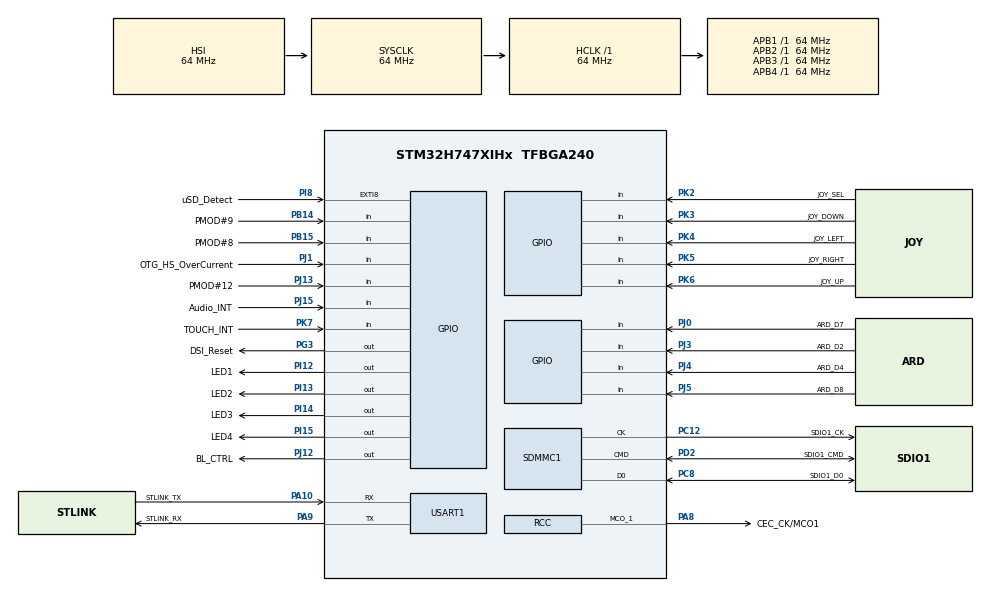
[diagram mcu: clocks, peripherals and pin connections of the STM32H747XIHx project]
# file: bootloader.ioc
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CORTEX_M7.CPU_DCache=Enabled
CortexM4.IPs=BDMA,DMA,FATFS_M4\:I,FREERTOS_M4\:I,IWDG2\:I,MDMA,NVIC2\:I,RCC,USB_DEVICE_M4\:I,USB_HOST_M4\:I,WWDG2\:I,DEBUG,PDM2PCM_M4\:I,PWR,RESMGR_UTILITY,SYS_M4\:I,CORTEX_M4\:I,OPENAMP_M4\:I,VREFBUF,GPIO
CortexM7.IPs=BDMA\:I,DMA\:I,FATFS_M7\:I,FREERTOS_M7\:I,IWDG1\:I,MDMA\:I,NVIC1\:I,RCC\:I,USB_DEVICE_M7\:I,USB_HOST_M7\:I,WWDG1\:I,USART1\:I,CORTEX_M7\:I,DEBUG\:I,PDM2PCM_M7\:I,PWR\:I,RESMGR_UTILITY\:I,SYS\:I,OPENAMP_M7\:I,VREFBUF\:I,GPIO\:I,SDMMC1\:I,STMicroelectronics.X-CUBE-AZRTOS-H7.3.1.0_M7\:I,TIM6\:I
CortexM7.Pins=PK3,PI8,PI12,PI13,PI14,PI15
DSI_CKN.Signal=DSIHOST_CKN
DSI_CKP.Signal=DSIHOST_CKP
DSI_D0N.Signal=DSIHOST_D0N
DSI_D0P.Signal=DSIHOST_D0P
DSI_D1N.Signal=DSIHOST_D1N
DSI_D1P.Signal=DSIHOST_D1P
Mcu.Family=STM32H7
Mcu.Name=STM32H747XIHx
Mcu.Package=TFBGA240
NVIC1.EXTI9_5_IRQn=true\:14\:0\:true\:false\:true\:false\:true\:true\:true
NVIC1.PriorityGroup=NVIC_PRIORITYGROUP_4
NVIC1.SDMMC1_IRQn=true\:0\:0\:false\:false\:true\:false\:true\:true\:true
NVIC1.TIM6_DAC_IRQn=true\:15\:0\:true\:false\:true\:false\:false\:true\:true
NVIC1.TimeBase=TIM6_DAC_IRQn
NVIC1.TimeBaseIP=TIM6
NVIC2.PriorityGroup=NVIC_PRIORITYGROUP_4
PA0_C.GPIO_Label=ARD_A2
PA0_C.PinAttribute=CortexM4
PA0_C.Signal=ADCx_INP0
PA1.GPIO_Label=ETH_REF_CLK
PA1.PinAttribute=CortexM4
PA1.Signal=ETH_REF_CLK
PA10.GPIO_Label=STLINK_TX
PA10.Mode=Asynchronous
PA10.PinAttribute=CortexM7
PA10.Signal=USART1_RX
PA11.GPIO_Label=PMOD\#1
PA11.PinAttribute=CortexM4
PA11.Signal=SPI2_NSS
PA12.GPIO_Label=SPI2_SCK
PA12.PinAttribute=CortexM4
PA12.Signal=SPI2_SCK
PA1_C.GPIO_Label=ARD_A3
PA1_C.PinAttribute=CortexM4
PA1_C.Signal=ADCx_INP1
PA2.GPIO_Label=ETH_MDIO
PA2.PinAttribute=CortexM4
PA2.Signal=ETH_MDIO
PA3.GPIO_Label=ULPI_D0
PA3.PinAttribute=CortexM4
PA3.Signal=USB_OTG_HS_ULPI_D0
PA5.GPIO_Label=ULPI_CK
PA5.PinAttribute=CortexM4
PA5.Signal=USB_OTG_HS_ULPI_CK
PA7.GPIO_Label=ETH_CRS_DV
PA7.PinAttribute=CortexM4
PA7.Signal=ETH_CRS_DV
PA8.GPIO_Label=CEC_CK/MCO1
PA8.Mode=Clock-out-1
PA8.PinAttribute=CortexM7
PA8.Signal=RCC_MCO_1
PA9.GPIO_Label=STLINK_RX
PA9.Mode=Asynchronous
PA9.PinAttribute=CortexM7
PA9.Signal=USART1_TX
PB0.GPIO_Label=ULPI_D1
PB0.PinAttribute=CortexM4
PB0.Signal=USB_OTG_HS_ULPI_D1
PB1.GPIO_Label=ULPI_D2
PB1.PinAttribute=CortexM4
PB1.Signal=USB_OTG_HS_ULPI_D2
PB10.GPIO_Label=ULPI_D3
PB10.PinAttribute=CortexM4
PB10.Signal=USB_OTG_HS_ULPI_D3
PB11.GPIO_Label=ULPI_D4
PB11.PinAttribute=CortexM4
PB11.Signal=USB_OTG_HS_ULPI_D4
PB12.GPIO_Label=ULPI_D5
PB12.PinAttribute=CortexM4
PB12.Signal=USB_OTG_HS_ULPI_D5
PB13.GPIO_Label=ULPI_D6
PB13.PinAttribute=CortexM4
PB13.Signal=USB_OTG_HS_ULPI_D6
PB14.GPIO_Label=PMOD\#9
PB14.PinAttribute=Free
PB14.Signal=GPIO_Input
PB15.GPIO_Label=PMOD\#8
PB15.PinAttribute=Free
PB15.Signal=GPIO_Input
PB2.GPIO_Label=QSPI_CLK
PB2.PinAttribute=CortexM4
PB2.Signal=QUADSPI_CLK
PB5.GPIO_Label=ULPI_D7
PB5.PinAttribute=CortexM4
PB5.Signal=USB_OTG_HS_ULPI_D7
PB6.GPIO_Label=HDMI_CEC
PB6.PinAttribute=CortexM4
PB6.Signal=CEC
PC0.GPIO_Label=ULPI_STP
PC0.PinAttribute=CortexM4
PC0.Signal=USB_OTG_HS_ULPI_STP
PC1.GPIO_Label=ETH_MDC/SAI4_D1
PC1.PinAttribute=CortexM4
PC1.Signal=ETH_MDC
PC10.GPIO_Label=SDIO1_D2
PC10.PinAttribute=CortexM7
PC10.Signal=SDMMC1_D2
PC12.GPIO_Label=SDIO1_CK
PC12.Mode=SD_1_bit
PC12.PinAttribute=CortexM7
PC12.Signal=SDMMC1_CK
PC13.GPIO_Label=B2 [Wakeup Button]
PC13.PinAttribute=CortexM4
PC13.Signal=RTC_TAMP1
PC14-OSC32_IN\ (OSC32_IN).GPIO_Label=OSC32_IN
PC14-OSC32_IN\ (OSC32_IN).Mode=LSE-External-Oscillator
PC14-OSC32_IN\ (OSC32_IN).PinAttribute=CortexM7
PC14-OSC32_IN\ (OSC32_IN).Signal=RCC_OSC32_IN
PC15-OSC32_OUT\ (OSC32_OUT).GPIO_Label=OSC32_OUT
PC15-OSC32_OUT\ (OSC32_OUT).Mode=LSE-External-Oscillator
PC15-OSC32_OUT\ (OSC32_OUT).PinAttribute=CortexM7
PC15-OSC32_OUT\ (OSC32_OUT).Signal=RCC_OSC32_OUT
PC2.GPIO_Label=PMOD\#3
PC2.PinAttribute=CortexM4
PC2.Signal=SPI2_MISO
PC2_C.GPIO_Label=ARD_A4
PC2_C.PinAttribute=CortexM4
PC2_C.Signal=ADC3_INP0
PC3.GPIO_Label=PMOD\#2
PC3.PinAttribute=CortexM4
PC3.Signal=SPI2_MOSI
PC3_C.GPIO_Label=ARD_A5
PC3_C.PinAttribute=CortexM4
PC3_C.Signal=ADC3_INP1
PC4.GPIO_Label=ETH_RXD0
PC4.PinAttribute=CortexM4
PC4.Signal=ETH_RXD0
PC5.GPIO_Label=ETH_RXD1
PC5.PinAttribute=CortexM4
PC5.Signal=ETH_RXD1
PC8.GPIO_Label=SDIO1_D0
PC8.Mode=SD_1_bit
PC8.PinAttribute=CortexM7
PC8.Signal=SDMMC1_D0
PD0.GPIO_Label=FMC_D2
PD0.PinAttribute=CortexM4
PD0.Signal=FMC_D2_DA2
PD1.GPIO_Label=FMC_D3
PD1.PinAttribute=CortexM4
PD1.Signal=FMC_D3_DA3
PD10.GPIO_Label=FMC_D15
PD10.PinAttribute=CortexM4
PD10.Signal=FMC_D15_DA15
PD11.GPIO_Label=QSPI_BK1_IO0
PD11.PinAttribute=CortexM4
PD11.Signal=QUADSPI_BK1_IO0
PD12.Signal=I2C4_SCL
PD13.Signal=I2C4_SDA
PD14.GPIO_Label=FMC_D0
PD14.PinAttribute=CortexM4
PD14.Signal=FMC_D0_DA0
PD15.GPIO_Label=FMC_D1
PD15.PinAttribute=CortexM4
PD15.Signal=FMC_D1_DA1
PD2.GPIO_Label=SDIO1_CMD
PD2.Mode=SD_1_bit
PD2.PinAttribute=CortexM7
PD2.Signal=SDMMC1_CMD
PD7.GPIO_Label=SPDIF_RX0
PD7.PinAttribute=CortexM4
PD7.Signal=SPDIFRX1_IN0
PD8.GPIO_Label=FMC_D13
PD8.PinAttribute=CortexM4
PD8.Signal=FMC_D13_DA13
PD9.GPIO_Label=FMC_D14
PD9.PinAttribute=CortexM4
PD9.Signal=FMC_D14_DA14
PE0.GPIO_Label=FMC_NBL0
PE0.PinAttribute=CortexM4
PE0.Signal=FMC_NBL0
PE1.GPIO_Label=FMC_NBL1
PE1.PinAttribute=CortexM4
PE1.Signal=FMC_NBL1
PE10.GPIO_Label=FMC_D7
PE10.PinAttribute=CortexM4
PE10.Signal=FMC_D7_DA7
PE11.GPIO_Label=FMC_D8
PE11.PinAttribute=CortexM4
PE11.Signal=FMC_D8_DA8
PE12.GPIO_Label=FMC_D9
PE12.PinAttribute=CortexM4
PE12.Signal=FMC_D9_DA9
PE13.GPIO_Label=FMC_D10
PE13.PinAttribute=CortexM4
PE13.Signal=FMC_D10_DA10
PE14.GPIO_Label=FMC_D11
PE14.PinAttribute=CortexM4
PE14.Signal=FMC_D11_DA11
PE15.GPIO_Label=FMC_D12
PE15.PinAttribute=CortexM4
PE15.Signal=FMC_D12_DA12
PE3.GPIO_Label=SAI1_SD_B
PE3.PinAttribute=CortexM4
PE3.Signal=SAI1_SD_B
PE4.GPIO_Label=SAI1_FS_A
PE4.PinAttribute=CortexM4
PE4.Signal=SAI1_FS_A
PE5.GPIO_Label=SAI1_SCK_A
PE5.PinAttribute=CortexM4
PE5.Signal=SAI1_SCK_A
PE6.GPIO_Label=SAI1_SD_A
PE6.PinAttribute=CortexM4
PE6.Signal=SAI1_SD_A
PE7.GPIO_Label=FMC_D4
PE7.PinAttribute=CortexM4
PE7.Signal=FMC_D4_DA4
PE8.GPIO_Label=FMC_D5
PE8.PinAttribute=CortexM4
PE8.Signal=FMC_D5_DA5
PE9.GPIO_Label=FMC_D6
PE9.PinAttribute=CortexM4
PE9.Signal=FMC_D6_DA6
PF0.GPIO_Label=FMC_A0
PF0.PinAttribute=CortexM4
PF0.Signal=FMC_A0
PF1.GPIO_Label=FMC_A1
PF1.PinAttribute=CortexM4
PF1.Signal=FMC_A1
PF10.GPIO_Label=ARD_A1
PF10.PinAttribute=CortexM4
PF10.Signal=ADC3_INP6
PF11.GPIO_Label=FMC_SDRAS
PF11.PinAttribute=CortexM4
PF11.Signal=FMC_SDNRAS
PF12.GPIO_Label=FMC_A6
PF12.PinAttribute=CortexM4
PF12.Signal=FMC_A6
PF13.GPIO_Label=FMC_A7
PF13.PinAttribute=CortexM4
PF13.Signal=FMC_A7
PF14.GPIO_Label=FMC_A8
PF14.PinAttribute=CortexM4
PF14.Signal=FMC_A8
PF15.GPIO_Label=FMC_A9
PF15.PinAttribute=CortexM4
PF15.Signal=FMC_A9
PF2.GPIO_Label=FMC_A2
PF2.PinAttribute=CortexM4
PF2.Signal=FMC_A2
PF3.GPIO_Label=FMC_A3
PF3.PinAttribute=CortexM4
PF3.Signal=FMC_A3
PF4.GPIO_Label=FMC_A4
PF4.PinAttribute=CortexM4
PF4.Signal=FMC_A4
PF5.GPIO_Label=FMC_A5
PF5.PinAttribute=CortexM4
PF5.Signal=FMC_A5
PF6.GPIO_Label=QSPI_BK1_IO3
PF6.PinAttribute=CortexM4
PF6.Signal=QUADSPI_BK1_IO3
PF7.GPIO_Label=QSPI_BK1_IO2
PF7.PinAttribute=CortexM4
PF7.Signal=QUADSPI_BK1_IO2
PF8.GPIO_Label=PMOD\#14/ARD_D3
PF8.PinAttribute=CortexM4
PF8.Signal=S_TIM13_CH1
PF9.GPIO_Label=QSPI_BK1_IO1
PF9.PinAttribute=CortexM4
PF9.Signal=QUADSPI_BK1_IO1
PG0.GPIO_Label=FMC_A10
PG0.PinAttribute=CortexM4
PG0.Signal=FMC_A10
PG1.GPIO_Label=FMC_A11
PG1.PinAttribute=CortexM4
PG1.Signal=FMC_A11
PG11.GPIO_Label=ETH_TX_EN
PG11.PinAttribute=CortexM4
PG11.Signal=ETH_TX_EN
PG12.GPIO_Label=ETH_TXD1
PG12.PinAttribute=CortexM4
PG12.Signal=ETH_TXD1
PG13.GPIO_Label=ETH_TXD0
PG13.PinAttribute=CortexM4
PG13.Signal=ETH_TXD0
PG14.GPIO_Label=QSPI_BK2_IO3
PG14.PinAttribute=CortexM4
PG14.Signal=QUADSPI_BK2_IO3
PG15.GPIO_Label=FMC_SDCAS
PG15.PinAttribute=CortexM4
PG15.Signal=FMC_SDNCAS
PG2.GPIO_Label=FMC_A12
PG2.PinAttribute=CortexM4
PG2.Signal=FMC_A12
PG3.GPIO_Label=DSI_Reset
PG3.PinAttribute=Free
PG3.Signal=GPIO_Output
PG4.GPIO_Label=FMC_BA0
PG4.PinAttribute=CortexM4
PG4.Signal=FMC_A14_BA0
PG6.GPIO_Label=QSPI_BK1_NCS
PG6.PinAttribute=CortexM4
PG6.Signal=QUADSPI_BK1_NCS
PG7.GPIO_Label=SAI1_MCLK_A
PG7.PinAttribute=CortexM4
PG7.Signal=SAI1_MCLK_A
PG8.GPIO_Label=FMC_SDCLK
PG8.PinAttribute=CortexM4
PG8.Signal=FMC_SDCLK
PG9.GPIO_Label=QSPI_BK2_IO2
PG9.PinAttribute=CortexM4
PG9.Signal=QUADSPI_BK2_IO2
PH0-OSC_IN\ (PH0).GPIO_Label=OSC_IN
PH0-OSC_IN\ (PH0).Mode=HSE-External-Oscillator
PH0-OSC_IN\ (PH0).PinAttribute=CortexM7
PH0-OSC_IN\ (PH0).Signal=RCC_OSC_IN
PH1-OSC_OUT\ (PH1).GPIO_Label=OSC_OUT
PH1-OSC_OUT\ (PH1).Mode=HSE-External-Oscillator
PH1-OSC_OUT\ (PH1).PinAttribute=CortexM7
PH1-OSC_OUT\ (PH1).Signal=RCC_OSC_OUT
PH10.GPIO_Label=FMC_D18
PH10.PinAttribute=CortexM4
PH10.Signal=FMC_D18
PH11.GPIO_Label=FMC_D19
PH11.PinAttribute=CortexM4
PH11.Signal=FMC_D19
PH12.GPIO_Label=FMC_D20
PH12.PinAttribute=CortexM4
PH12.Signal=FMC_D20
PH13.GPIO_Label=FMC_D21
PH13.PinAttribute=CortexM4
PH13.Signal=FMC_D21
PH14.GPIO_Label=FMC_D22
PH14.PinAttribute=CortexM4
PH14.Signal=FMC_D22
PH15.GPIO_Label=FMC_D23
PH15.PinAttribute=CortexM4
PH15.Signal=FMC_D23
PH2.GPIO_Label=QSPI_BK2_IO0
PH2.PinAttribute=CortexM4
PH2.Signal=QUADSPI_BK2_IO0
PH3.GPIO_Label=QSPI_BK2_IO1
PH3.PinAttribute=CortexM4
PH3.Signal=QUADSPI_BK2_IO1
PH4.GPIO_Label=ULPI_NXT
PH4.PinAttribute=CortexM4
PH4.Signal=USB_OTG_HS_ULPI_NXT
PH5.GPIO_Label=FMC_SDNWE
PH5.PinAttribute=CortexM4
PH5.Signal=FMC_SDNWE
PH6.GPIO_Label=FMC_SDNE1
PH6.PinAttribute=CortexM4
PH6.Signal=FMC_SDNE1
PH7.GPIO_Label=FMC_SDCKE1
PH7.PinAttribute=CortexM4
PH7.Signal=FMC_SDCKE1
PH8.GPIO_Label=FMC_D16
PH8.PinAttribute=CortexM4
PH8.Signal=FMC_D16
PH9.GPIO_Label=FMC_D17
PH9.PinAttribute=CortexM4
PH9.Signal=FMC_D17
PI0.GPIO_Label=FMC_D24
PI0.PinAttribute=CortexM4
PI0.Signal=FMC_D24
PI1.GPIO_Label=FMC_D25
PI1.PinAttribute=CortexM4
PI1.Signal=FMC_D25
PI10.GPIO_Label=FMC_D31
PI10.PinAttribute=CortexM4
PI10.Signal=FMC_D31
PI11.GPIO_Label=ULPI_DIR
PI11.PinAttribute=CortexM4
PI11.Signal=USB_OTG_HS_ULPI_DIR
PI12.GPIO_Label=LED1
PI12.GPIO_PuPd=GPIO_PULLDOWN
PI12.PinAttribute=CortexM7
PI12.Signal=GPIO_Output
PI13.GPIO_Label=LED2
PI13.GPIO_PuPd=GPIO_PULLDOWN
PI13.PinAttribute=CortexM7
PI13.Signal=GPIO_Output
PI14.GPIO_Label=LED3
PI14.GPIO_PuPd=GPIO_PULLDOWN
PI14.PinAttribute=CortexM7
PI14.Signal=GPIO_Output
PI15.GPIO_Label=LED4
PI15.GPIO_PuPd=GPIO_PULLDOWN
PI15.PinAttribute=CortexM7
PI15.Signal=GPIO_Output
PI2.GPIO_Label=FMC_D26
PI2.PinAttribute=CortexM4
PI2.Signal=FMC_D26
PI3.GPIO_Label=FMC_D27
PI3.PinAttribute=CortexM4
PI3.Signal=FMC_D27
PI4.GPIO_Label=FMC_NBL2
PI4.PinAttribute=CortexM4
PI4.Signal=FMC_NBL2
PI5.GPIO_Label=FMC_NBL3
PI5.PinAttribute=CortexM4
PI5.Signal=FMC_NBL3
PI6.GPIO_Label=FMC_D28
PI6.PinAttribute=CortexM4
PI6.Signal=FMC_D28
PI7.GPIO_Label=FMC_D29
PI7.PinAttribute=CortexM4
PI7.Signal=FMC_D29
PI8.GPIO_Label=uSD_Detect
PI8.GPIO_ModeDefaultEXTI=GPIO_MODE_IT_RISING_FALLING
PI8.GPIO_PuPd=GPIO_PULLUP
PI8.PinAttribute=CortexM7
PI8.Signal=GPXTI8
PI9.GPIO_Label=FMC_D30
PI9.PinAttribute=CortexM4
PI9.Signal=FMC_D30
PJ0.GPIO_Label=ARD_D7
PJ0.PinAttribute=Free
PJ0.Signal=GPIO_Input
PJ1.GPIO_Label=OTG_HS_OverCurrent
PJ1.PinAttribute=Free
PJ1.Signal=GPIO_Input
PJ10.GPIO_Label=ARD_D11
PJ10.PinAttribute=CortexM4
PJ10.Signal=SPI5_MOSI
PJ11.GPIO_Label=ARD_D12
PJ11.PinAttribute=CortexM4
PJ11.Signal=SPI5_MISO
PJ12.GPIO_Label=BL_CTRL
PJ12.PinAttribute=Free
PJ12.Signal=GPIO_Output
PJ13.GPIO_Label=PMOD\#12
PJ13.PinAttribute=Free
PJ13.Signal=GPIO_Input
PJ15.GPIO_Label=Audio_INT
PJ15.PinAttribute=Free
PJ15.Signal=GPIO_Input
PJ2.GPIO_Label=DSI_TE
PJ2.Signal=DSIHOST_TE
PJ3.GPIO_Label=ARD_D2
PJ3.PinAttribute=Free
PJ3.Signal=GPIO_Input
PJ4.GPIO_Label=ARD_D4
PJ4.PinAttribute=Free
PJ4.Signal=GPIO_Input
PJ5.GPIO_Label=ARD_D8
PJ5.PinAttribute=Free
PJ5.Signal=GPIO_Input
PJ6.GPIO_Label=ARD_D9
PJ6.PinAttribute=CortexM4
PJ6.Signal=S_TIM8_CH2
PJ7.GPIO_Label=ARD_D6
PJ7.PinAttribute=CortexM4
PJ7.Signal=TIM8_CH2N
PJ8.GPIO_Label=ARD_D1
PJ8.PinAttribute=CortexM4
PJ8.Signal=UART8_TX
PJ9.GPIO_Label=ARD_D0
PJ9.PinAttribute=CortexM4
PJ9.Signal=UART8_RX
PK0.GPIO_Label=ARD_D13
PK0.PinAttribute=CortexM4
PK0.Signal=SPI5_SCK
PK1.GPIO_Label=ARD_D10
PK1.PinAttribute=CortexM4
PK1.Signal=SPI5_NSS
PK2.GPIO_Label=JOY_SEL
PK2.PinAttribute=Free
PK2.Signal=GPIO_Input
PK3.GPIO_Label=JOY_DOWN
PK3.GPIO_PuPd=GPIO_PULLUP
PK3.PinAttribute=CortexM7
PK3.Signal=GPIO_Input
PK4.GPIO_Label=JOY_LEFT
PK4.PinAttribute=Free
PK4.Signal=GPIO_Input
PK5.GPIO_Label=JOY_RIGHT
PK5.PinAttribute=Free
PK5.Signal=GPIO_Input
PK6.GPIO_Label=JOY_UP
PK6.PinAttribute=Free
PK6.Signal=GPIO_Input
PK7.GPIO_Label=TOUCH_INT
PK7.PinAttribute=Free
PK7.Signal=GPIO_Input
ProjectManager.HeapSize=M4-0x200,M7-0x200
ProjectManager.StackSize=M4-0x400,M7-0x400
ProjectManager.TargetToolchain=STM32CubeIDE
RCC.ADCFreq_Value=75000000
RCC.APB1Freq_Value=64000000
RCC.APB2Freq_Value=64000000
RCC.APB3Freq_Value=64000000
RCC.APB4Freq_Value=64000000
RCC.CortexFreq_Value=64000000
RCC.DIVM1=5
RCC.DIVM2=2
RCC.DIVN1=48
RCC.DIVN2=12
RCC.DIVQ1=5
RCC.HCLKFreq_Value=64000000
RCC.PLL2FRACN=0
RCC.PLL3FRACN=0
RCC.PLLFRACN=0
RCC.PLLSourceVirtual=RCC_PLLSOURCE_HSE
RCC.PWR_Regulator_Voltage_Scale=PWR_REGULATOR_VOLTAGE_SCALE1
RCC.SYSCLKFreq_VALUE=64000000
RCC.SupplySource=PWR_DIRECT_SMPS_SUPPLY
RCC.USBFreq_Value=48000000
SH.ADCx_INP0.0=ADC1_INP0
SH.ADCx_INP1.0=ADC1_INP1
SH.FMC_A0.0=FMC_A0
SH.FMC_A1.0=FMC_A1
SH.FMC_A10.0=FMC_A10
SH.FMC_A11.0=FMC_A11
SH.FMC_A12.0=FMC_A12
SH.FMC_A14_BA0.0=FMC_BA0
SH.FMC_A2.0=FMC_A2
SH.FMC_A3.0=FMC_A3
SH.FMC_A4.0=FMC_A4
SH.FMC_A5.0=FMC_A5
SH.FMC_A6.0=FMC_A6
SH.FMC_A7.0=FMC_A7
SH.FMC_A8.0=FMC_A8
SH.FMC_A9.0=FMC_A9
SH.FMC_D0_DA0.0=FMC_D0
SH.FMC_D10_DA10.0=FMC_D10
SH.FMC_D11_DA11.0=FMC_D11
SH.FMC_D12_DA12.0=FMC_D12
SH.FMC_D13_DA13.0=FMC_D13
SH.FMC_D14_DA14.0=FMC_D14
SH.FMC_D15_DA15.0=FMC_D15
SH.FMC_D16.0=FMC_D16
SH.FMC_D17.0=FMC_D17
SH.FMC_D18.0=FMC_D18
SH.FMC_D19.0=FMC_D19
SH.FMC_D1_DA1.0=FMC_D1
SH.FMC_D20.0=FMC_D20
SH.FMC_D21.0=FMC_D21
SH.FMC_D22.0=FMC_D22
SH.FMC_D23.0=FMC_D23
SH.FMC_D24.0=FMC_D24
SH.FMC_D25.0=FMC_D25
SH.FMC_D26.0=FMC_D26
SH.FMC_D27.0=FMC_D27
SH.FMC_D28.0=FMC_D28
SH.FMC_D29.0=FMC_D29
SH.FMC_D2_DA2.0=FMC_D2
SH.FMC_D30.0=FMC_D30
SH.FMC_D31.0=FMC_D31
SH.FMC_D3_DA3.0=FMC_D3
SH.FMC_D4_DA4.0=FMC_D4
SH.FMC_D5_DA5.0=FMC_D5
SH.FMC_D6_DA6.0=FMC_D6
SH.FMC_D7_DA7.0=FMC_D7
SH.FMC_D8_DA8.0=FMC_D8
SH.FMC_D9_DA9.0=FMC_D9
SH.FMC_NBL0.0=FMC_NBL0
SH.FMC_NBL1.0=FMC_NBL1
SH.FMC_NBL2.0=FMC_NBL2
SH.FMC_NBL3.0=FMC_NBL3
SH.FMC_SDCLK.0=FMC_SDCLK
SH.FMC_SDNCAS.0=FMC_SDNCAS
SH.FMC_SDNRAS.0=FMC_SDNRAS
SH.FMC_SDNWE.0=FMC_SDNWE
SH.S_TIM13_CH1.0=TIM13_CH1
SH.S_TIM8_CH2.0=TIM8_CH2
STMicroelectronics.X-CUBE-AZRTOS-H7.3.1.0_IsAnAzureRtosMw=true
STMicroelectronics.X-CUBE-AZRTOS-H7.3.1.0_M7.FX_APP_MEM_POOL_SIZE=(1024*40)
STMicroelectronics.X-CUBE-AZRTOS-H7.3.1.0_M7.FileXCcFileOoSystemJjFileXJjCore=true
STMicroelectronics.X-CUBE-AZRTOS-H7.3.1.0_M7.InterfacesCcFileOoSystemJjFileXOoSDOointerface=true
STMicroelectronics.X-CUBE-AZRTOS-H7.3.1.0_M7.TX_APP_MEM_POOL_SIZE=(1024*32)
STMicroelectronics.X-CUBE-AZRTOS-H7.3.1.0_M7.ThreadXCcRTOSJjThreadXJjCore=true
USART1.VirtualMode-Asynchronous=VM_ASYNC
VP_STMicroelectronics.X-CUBE-AZRTOS-H7_M7_VS_FileOoSystemJjFileX_6.2.0_3.1.0.Mode=FileOoSystemJjFileX
VP_STMicroelectronics.X-CUBE-AZRTOS-H7_M7_VS_FileOoSystemJjInterfaces_2.1.0_3.1.0.Mode=FileOoSystemJjInterfaces
VP_STMicroelectronics.X-CUBE-AZRTOS-H7_M7_VS_RTOSJjThreadX_6.2.0_3.1.0.Mode=RTOSJjThreadX
VP_SYS_M4_VS_Systick.Mode=SysTick
VP_SYS_VS_tim6.Mode=TIM6
board=STM32H747I-DISCO

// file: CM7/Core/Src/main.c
/* USER CODE BEGIN Header */
/**
  ******************************************************************************
  * @file           : main.c
  * @brief          : Main program body
  ******************************************************************************
  * @attention
  *
  * Copyright (c) 2023 STMicroelectronics.
  * All rights reserved.
  *
  * This software is licensed under terms that can be found in the LICENSE file
  * in the root directory of this software component.
  * If no LICENSE file comes with this software, it is provided AS-IS.
  *
  ******************************************************************************
  */
/* USER CODE END Header */
#include "app_threadx.h"
#include "main.h"

/* USER CODE BEGIN Includes */
#include <stdio.h>
#include <stdbool.h>

/* USER CODE END Includes */

/* USER CODE BEGIN PD */

#ifndef HSEM_ID_0
#define HSEM_ID_0 (0U) /* HW semaphore 0*/
#endif

/* USER CODE END PD */

/* USER CODE BEGIN PM */
/* Application start address in FLASH */
#define APP_FLASH_ADDR	0x08040000

/* Bootloader version */
#define	B_MAJOR_VER		0
#define B_MINOR_VER		1

/* Time to wait for user to press joystick down to flash before jumping to existent app */
#define TIMEOUT_TO_FLASH_APP	3	/*seconds*/

/* USER CODE END PM */

SD_HandleTypeDef hsd1;

UART_HandleTypeDef huart1;

/* USER CODE BEGIN PV */
extern TIM_HandleTypeDef htim6;

const uint8_t bootloader_ver[2] = { B_MAJOR_VER, B_MINOR_VER };

/* USER CODE END PV */

void SystemClock_Config(void);
static void MX_GPIO_Init(void);
static void MX_USART1_UART_Init(void);
static void MX_SDMMC1_SD_Init(void);

int main(void)
{
/* USER CODE BEGIN Boot_Mode_Sequence_0 */
  int32_t timeout;
/* USER CODE END Boot_Mode_Sequence_0 */

  /* Enable D-Cache---------------------------------------------------------*/
  SCB_EnableDCache();

/* USER CODE BEGIN Boot_Mode_Sequence_1 */
  /* Wait until CPU2 boots and enters in stop mode or timeout*/
  timeout = 0xFFFF;
  while((__HAL_RCC_GET_FLAG(RCC_FLAG_D2CKRDY) != RESET) && (timeout-- > 0));
  if ( timeout < 0 )
  {
  Error_Handler();
  }
/* USER CODE END Boot_Mode_Sequence_1 */
  /* MCU Configuration--------------------------------------------------------*/

  /* Reset of all peripherals, Initializes the Flash interface and the Systick. */
  HAL_Init();

  /* Configure the system clock */
  SystemClock_Config();
/* USER CODE BEGIN Boot_Mode_Sequence_2 */
/* When system initialization is finished, Cortex-M7 will release Cortex-M4 by means of
HSEM notification */
/*HW semaphore Clock enable*/
__HAL_RCC_HSEM_CLK_ENABLE();
/*Take HSEM */
HAL_HSEM_FastTake(HSEM_ID_0);
/*Release HSEM in order to notify the CPU2(CM4)*/
HAL_HSEM_Release(HSEM_ID_0,0);
/* wait until CPU2 wakes up from stop mode */
timeout = 0xFFFF;
while((__HAL_RCC_GET_FLAG(RCC_FLAG_D2CKRDY) == RESET) && (timeout-- > 0));
if ( timeout < 0 )
{
Error_Handler();
}
/* USER CODE END Boot_Mode_Sequence_2 */

  /* Initialize all configured peripherals */
  MX_GPIO_Init();
  MX_USART1_UART_Init();
  MX_SDMMC1_SD_Init();
  /* USER CODE BEGIN 2 */
  printf("Starting Bootloader v%d.%d (CM7)\r\n",bootloader_ver[0], bootloader_ver[1]);

  /* Check for button press or timeout */
  volatile static uint8_t joystick_down_state;
  volatile static _Bool joystick_held_down = false;
  volatile uint32_t now = HAL_GetTick();
  const uint32_t timeout_end = now + (TIMEOUT_TO_FLASH_APP *1000);

  do {
	  joystick_down_state = HAL_GPIO_ReadPin(JOY_DOWN_GPIO_Port, JOY_DOWN_Pin);
	  now = HAL_GetTick();

	  /* Check for joystick down */
	  if ((joystick_down_state != GPIO_PIN_SET)) {
		  joystick_held_down = true;
		  break;
	  }
  } while(now < timeout_end);

  if (!joystick_held_down) {
	  // No user indication to flash new app
	  goto_application();
  }

  // Start RTOS and flash app if available
  /* USER CODE END 2 */

  MX_ThreadX_Init();

  /* We should never get here as control is now taken by the scheduler */
  /* Infinite loop */
  while (1)
  {

  }
}

void SystemClock_Config(void)
{
  RCC_OscInitTypeDef RCC_OscInitStruct = {0};
  RCC_ClkInitTypeDef RCC_ClkInitStruct = {0};

  /** Supply configuration update enable
  */
  HAL_PWREx_ConfigSupply(PWR_DIRECT_SMPS_SUPPLY);

  /** Configure the main internal regulator output voltage
  */
  __HAL_PWR_VOLTAGESCALING_CONFIG(PWR_REGULATOR_VOLTAGE_SCALE1);

  while(!__HAL_PWR_GET_FLAG(PWR_FLAG_VOSRDY)) {}

  /** Initializes the RCC Oscillators according to the specified parameters
  * in the RCC_OscInitTypeDef structure.
  */
  RCC_OscInitStruct.OscillatorType = RCC_OSCILLATORTYPE_HSI|RCC_OSCILLATORTYPE_HSE;
  RCC_OscInitStruct.HSEState = RCC_HSE_ON;
  RCC_OscInitStruct.HSIState = RCC_HSI_DIV1;
  RCC_OscInitStruct.HSICalibrationValue = RCC_HSICALIBRATION_DEFAULT;
  RCC_OscInitStruct.PLL.PLLState = RCC_PLL_ON;
  RCC_OscInitStruct.PLL.PLLSource = RCC_PLLSOURCE_HSE;
  RCC_OscInitStruct.PLL.PLLM = 5;
  RCC_OscInitStruct.PLL.PLLN = 48;
  RCC_OscInitStruct.PLL.PLLP = 2;
  RCC_OscInitStruct.PLL.PLLQ = 5;
  RCC_OscInitStruct.PLL.PLLR = 2;
  RCC_OscInitStruct.PLL.PLLRGE = RCC_PLL1VCIRANGE_2;
  RCC_OscInitStruct.PLL.PLLVCOSEL = RCC_PLL1VCOWIDE;
  RCC_OscInitStruct.PLL.PLLFRACN = 0;
  if (HAL_RCC_OscConfig(&RCC_OscInitStruct) != HAL_OK)
  {
    Error_Handler();
  }

  /** Initializes the CPU, AHB and APB buses clocks
  */
  RCC_ClkInitStruct.ClockType = RCC_CLOCKTYPE_HCLK|RCC_CLOCKTYPE_SYSCLK
                              |RCC_CLOCKTYPE_PCLK1|RCC_CLOCKTYPE_PCLK2
                              |RCC_CLOCKTYPE_D3PCLK1|RCC_CLOCKTYPE_D1PCLK1;
  RCC_ClkInitStruct.SYSCLKSource = RCC_SYSCLKSOURCE_HSI;
  RCC_ClkInitStruct.SYSCLKDivider = RCC_SYSCLK_DIV1;
  RCC_ClkInitStruct.AHBCLKDivider = RCC_HCLK_DIV1;
  RCC_ClkInitStruct.APB3CLKDivider = RCC_APB3_DIV1;
  RCC_ClkInitStruct.APB1CLKDivider = RCC_APB1_DIV1;
  RCC_ClkInitStruct.APB2CLKDivider = RCC_APB2_DIV1;
  RCC_ClkInitStruct.APB4CLKDivider = RCC_APB4_DIV1;

  if (HAL_RCC_ClockConfig(&RCC_ClkInitStruct, FLASH_LATENCY_0) != HAL_OK)
  {
    Error_Handler();
  }
  HAL_RCC_MCOConfig(RCC_MCO1, RCC_MCO1SOURCE_HSI, RCC_MCODIV_1);
}

static void MX_SDMMC1_SD_Init(void)
{

  hsd1.Instance = SDMMC1;
  hsd1.Init.ClockEdge = SDMMC_CLOCK_EDGE_RISING;
  hsd1.Init.ClockPowerSave = SDMMC_CLOCK_POWER_SAVE_DISABLE;
  hsd1.Init.BusWide = SDMMC_BUS_WIDE_1B;
  hsd1.Init.HardwareFlowControl = SDMMC_HARDWARE_FLOW_CONTROL_DISABLE;
  hsd1.Init.ClockDiv = 0;
  if (HAL_SD_Init(&hsd1) != HAL_OK)
  {
    Error_Handler();
  }

}

static void MX_USART1_UART_Init(void)
{

  huart1.Instance = USART1;
  huart1.Init.BaudRate = 115200;
  huart1.Init.WordLength = UART_WORDLENGTH_8B;
  huart1.Init.StopBits = UART_STOPBITS_1;
  huart1.Init.Parity = UART_PARITY_NONE;
  huart1.Init.Mode = UART_MODE_TX_RX;
  huart1.Init.HwFlowCtl = UART_HWCONTROL_NONE;
  huart1.Init.OverSampling = UART_OVERSAMPLING_16;
  huart1.Init.OneBitSampling = UART_ONE_BIT_SAMPLE_DISABLE;
  huart1.Init.ClockPrescaler = UART_PRESCALER_DIV1;
  huart1.AdvancedInit.AdvFeatureInit = UART_ADVFEATURE_NO_INIT;
  if (HAL_UART_Init(&huart1) != HAL_OK)
  {
    Error_Handler();
  }
  if (HAL_UARTEx_SetTxFifoThreshold(&huart1, UART_TXFIFO_THRESHOLD_1_8) != HAL_OK)
  {
    Error_Handler();
  }
  if (HAL_UARTEx_SetRxFifoThreshold(&huart1, UART_RXFIFO_THRESHOLD_1_8) != HAL_OK)
  {
    Error_Handler();
  }
  if (HAL_UARTEx_DisableFifoMode(&huart1) != HAL_OK)
  {
    Error_Handler();
  }

}

static void MX_GPIO_Init(void)
{
  GPIO_InitTypeDef GPIO_InitStruct = {0};

  /* GPIO Ports Clock Enable */
  __HAL_RCC_GPIOC_CLK_ENABLE();
  __HAL_RCC_GPIOK_CLK_ENABLE();
  __HAL_RCC_GPIOD_CLK_ENABLE();
  __HAL_RCC_GPIOA_CLK_ENABLE();
  __HAL_RCC_GPIOI_CLK_ENABLE();
  __HAL_RCC_GPIOH_CLK_ENABLE();

  /*Configure GPIO pin Output Level */
  HAL_GPIO_WritePin(GPIOI, LED1_Pin|LED2_Pin|LED3_Pin|LED4_Pin, GPIO_PIN_RESET);

  /*Configure GPIO pin : JOY_DOWN_Pin */
  GPIO_InitStruct.Pin = JOY_DOWN_Pin;
  GPIO_InitStruct.Mode = GPIO_MODE_INPUT;
  GPIO_InitStruct.Pull = GPIO_PULLUP;
  HAL_GPIO_Init(JOY_DOWN_GPIO_Port, &GPIO_InitStruct);

  /*Configure GPIO pin : uSD_Detect_Pin */
  GPIO_InitStruct.Pin = uSD_Detect_Pin;
  GPIO_InitStruct.Mode = GPIO_MODE_IT_RISING_FALLING;
  GPIO_InitStruct.Pull = GPIO_PULLUP;
  HAL_GPIO_Init(uSD_Detect_GPIO_Port, &GPIO_InitStruct);

  /*Configure GPIO pin : CEC_CK_MCO1_Pin */
  GPIO_InitStruct.Pin = CEC_CK_MCO1_Pin;
  GPIO_InitStruct.Mode = GPIO_MODE_AF_PP;
  GPIO_InitStruct.Pull = GPIO_NOPULL;
  GPIO_InitStruct.Speed = GPIO_SPEED_FREQ_LOW;
  GPIO_InitStruct.Alternate = GPIO_AF0_MCO;
  HAL_GPIO_Init(CEC_CK_MCO1_GPIO_Port, &GPIO_InitStruct);

  /*Configure GPIO pins : LED1_Pin LED2_Pin LED3_Pin LED4_Pin */
  GPIO_InitStruct.Pin = LED1_Pin|LED2_Pin|LED3_Pin|LED4_Pin;
  GPIO_InitStruct.Mode = GPIO_MODE_OUTPUT_PP;
  GPIO_InitStruct.Pull = GPIO_PULLDOWN;
  GPIO_InitStruct.Speed = GPIO_SPEED_FREQ_LOW;
  HAL_GPIO_Init(GPIOI, &GPIO_InitStruct);

  /* EXTI interrupt init*/
  HAL_NVIC_SetPriority(EXTI9_5_IRQn, 14, 0);
  HAL_NVIC_EnableIRQ(EXTI9_5_IRQn);

}

/* USER CODE BEGIN 4 */
/**
  * @brief Print a character to UART ( to be used by printf).
  * @retval int
  */
#ifdef __GNUC__
int __io_putchar(int ch)
#else
int fputc(int ch, FILE *f)
#endif /* __GNUC__ */
{
  HAL_UART_Transmit(&huart1, (uint8_t *)&ch, 1, HAL_MAX_DELAY);

  return ch;
}

void goto_application()
{
	printf("Jumping to application\r\n");
	void (*app_reset_hanlder) (void) = (void*) (*(volatile uint32_t *) (APP_FLASH_ADDR + 4U));

	/* Deinitialize peripherals before jump */
	HAL_SD_DeInit(&hsd1);
	HAL_UART_DeInit(&huart1);

	/* TODO: Can replace by HAL GPIO DeInit function? */
	__HAL_RCC_GPIOF_CLK_DISABLE();
	__HAL_RCC_GPIOH_CLK_DISABLE();
	__HAL_RCC_GPIOI_CLK_DISABLE();
	__HAL_RCC_GPIOA_CLK_DISABLE();
	__HAL_RCC_GPIOE_CLK_DISABLE();
	__HAL_RCC_GPIOC_CLK_DISABLE();
	__HAL_RCC_GPIOG_CLK_DISABLE();
	__HAL_RCC_GPIOB_CLK_DISABLE();
	__HAL_RCC_HSEM_CLK_DISABLE();

	HAL_RCC_DeInit();
	HAL_TIM_Base_DeInit(&htim6);

	/* Stop all interrupts */
	__disable_irq();

	/* TODO: Why 8 registers? */
	/* Disable IRQs */
	for (int i = 0; i < 8; i++) {
		NVIC->ICER[i] = 0xFFFFFFFF;
	}

	/* Clear pending IRQs */
	for (int i = 0; i < 8; i++) {
		NVIC->ICPR[i] = 0xFFFFFFFF;
	}

	/* Reenable all interrupts */
	__enable_irq();

	/* Disable Systick timer interrupt*/
	SysTick->CTRL = 0;

	/* TODO: Why is CR needed to be set to 0? */
	/* Change from PSP to MSP */
	__set_CONTROL(0);

	/* Set main stack pointer of application (also done in linkerscript by CubeMX) */
	__set_MSP((*(volatile uint32_t *) APP_FLASH_ADDR));

	/* Call app reset handler */
	app_reset_hanlder();

	/* Should never reach here */
	Error_Handler();
}

/* USER CODE END 4 */

void HAL_TIM_PeriodElapsedCallback(TIM_HandleTypeDef *htim)
{
  if (htim->Instance == TIM6) {
    HAL_IncTick();
  }
}

void Error_Handler(void)
{
  __disable_irq();
  while (1)
  {
  }
}
